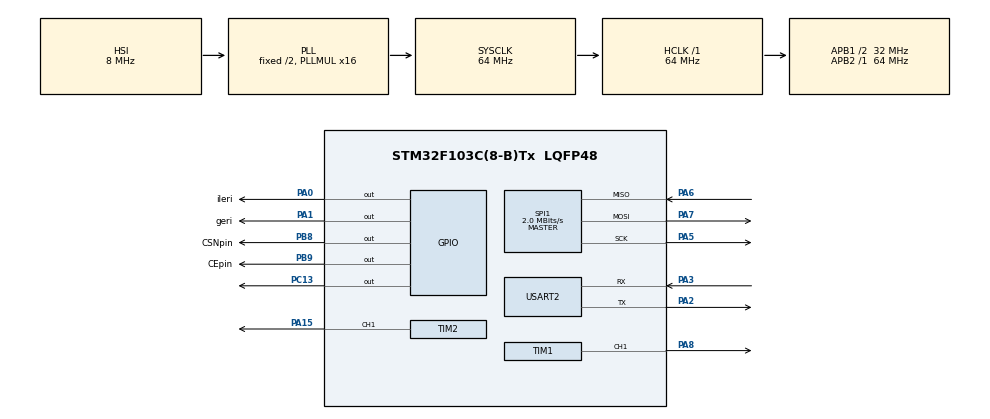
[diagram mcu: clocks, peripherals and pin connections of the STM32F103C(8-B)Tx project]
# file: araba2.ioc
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Mcu.Family=STM32F1
Mcu.Name=STM32F103C(8-B)Tx
Mcu.Package=LQFP48
NVIC.PriorityGroup=NVIC_PRIORITYGROUP_4
PA0-WKUP.GPIO_Label=ileri
PA0-WKUP.GPIO_ModeDefaultOutputPP=GPIO_MODE_OUTPUT_PP
PA0-WKUP.Signal=GPIO_Output
PA1.GPIO_Label=geri
PA1.GPIO_ModeDefaultOutputPP=GPIO_MODE_OUTPUT_PP
PA1.Signal=GPIO_Output
PA15.Signal=S_TIM2_CH1_ETR
PA2.Mode=Asynchronous
PA2.Signal=USART2_TX
PA3.Mode=Asynchronous
PA3.Signal=USART2_RX
PA5.Mode=Full_Duplex_Master
PA5.Signal=SPI1_SCK
PA6.Mode=Full_Duplex_Master
PA6.Signal=SPI1_MISO
PA7.Mode=Full_Duplex_Master
PA7.Signal=SPI1_MOSI
PA8.Signal=S_TIM1_CH1
PB8.GPIO_Label=CSNpin
PB8.Signal=GPIO_Output
PB9.GPIO_Label=CEpin
PB9.Signal=GPIO_Output
PC13-TAMPER-RTC.Signal=GPIO_Output
PD0-OSC_IN.Mode=HSE-External-Oscillator
PD0-OSC_IN.Signal=RCC_OSC_IN
PD1-OSC_OUT.Mode=HSE-External-Oscillator
PD1-OSC_OUT.Signal=RCC_OSC_OUT
ProjectManager.HeapSize=0x200
ProjectManager.StackSize=0x400
ProjectManager.TargetToolchain=MDK-ARM V5
RCC.AHBFreq_Value=64000000
RCC.APB1CLKDivider=RCC_HCLK_DIV2
RCC.APB1Freq_Value=32000000
RCC.APB1TimFreq_Value=64000000
RCC.APB2Freq_Value=64000000
RCC.APB2TimFreq_Value=64000000
RCC.HCLKFreq_Value=64000000
RCC.PLLMUL=RCC_PLL_MUL16
RCC.SYSCLKFreq_VALUE=64000000
RCC.SYSCLKSource=RCC_SYSCLKSOURCE_PLLCLK
RCC.USBFreq_Value=64000000
SH.S_TIM1_CH1.0=TIM1_CH1,PWM Generation1 CH1
SH.S_TIM2_CH1_ETR.0=TIM2_CH1,PWM Generation1 CH1
SPI1.BaudRatePrescaler=SPI_BAUDRATEPRESCALER_32
SPI1.CalculateBaudRate=2.0 MBits/s
SPI1.Direction=SPI_DIRECTION_2LINES
SPI1.Mode=SPI_MODE_MASTER
SPI1.VirtualType=VM_MASTER
TIM1.Channel-PWM\ Generation1\ CH1=TIM_CHANNEL_1
TIM1.OCPolarity_1=TIM_OCPOLARITY_LOW
TIM1.Period=99
TIM1.Prescaler=1279
TIM2.Channel-PWM\ Generation1\ CH1=TIM_CHANNEL_1
TIM2.Period=119
TIM2.Prescaler=10665
USART2.VirtualMode=VM_ASYNC
VP_SYS_VS_ND.Mode=No_Debug
board=custom

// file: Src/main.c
/* USER CODE BEGIN Header */
/**
  ******************************************************************************
  * @file           : main.c
  * @brief          : Main program body
  ******************************************************************************
  * @attention
  *
  * <h2><center>&copy; Copyright (c) 2019 STMicroelectronics.
  * All rights reserved.</center></h2>
  *
  * This software component is licensed by ST under BSD 3-Clause license,
  * the "License"; You may not use this file except in compliance with the
  * License. You may obtain a copy of the License at:
  *                        opensource.org/licenses/BSD-3-Clause
  *
  ******************************************************************************
  */
/* USER CODE END Header */

#include "main.h"

/* USER CODE BEGIN Includes */
#include "MY_NRF24.h"
#include "stm32f1xx_hal.h"
#include "string.h"
/* USER CODE END Includes */

/* USER CODE BEGIN PD */
volatile static int16_t pot,potValue,potyon,potyonValue;
char data[32] = " ",data1[32]=" ",data2[32]=" ",data3[32]=" ";

/* USER CODE END PD */

SPI_HandleTypeDef hspi1;

TIM_HandleTypeDef htim1;
TIM_HandleTypeDef htim2;

UART_HandleTypeDef huart2;

void SystemClock_Config(void);
static void MX_GPIO_Init(void);
static void MX_SPI1_Init(void);
static void MX_TIM1_Init(void);
static void MX_USART2_UART_Init(void);
static void MX_TIM2_Init(void);
/* USER CODE BEGIN PFP */
long map(long x, long in_min, long in_max, long out_min, long out_max)
{
	if( x == in_max)
		return out_max;
	else if(out_min < out_max)
		return (x - in_min) * (out_max - out_min+1) / (in_max - in_min) + out_min;
	else
		return (x - in_min) * (out_max - out_min-1) / (in_max - in_min) + out_min;
}
/* USER CODE END PFP */

/* USER CODE BEGIN 0 */
uint64_t RxpipeAddrs = 0x11223344AA ;
//void servo(uint16_t derece)
//{
//if(derece<1)
//	derece=1;
//if(derece>127)
//	derece=126;
//	derece=derece+32;
//__HAL_TIM_SET_COMPARE(&htim2,TIM_CHANNEL_1,derece);
//}
/* USER CODE END 0 */

int main(void)
{
  /* USER CODE BEGIN 1 */
char myRxData[32],myRx1Data[32];
  /* USER CODE END 1 */

  /* MCU Configuration--------------------------------------------------------*/

  /* Reset of all peripherals, Initializes the Flash interface and the Systick. */
  HAL_Init();

  /* Configure the system clock */
  SystemClock_Config();

  /* Initialize all configured peripherals */
  MX_GPIO_Init();
  MX_SPI1_Init();
  MX_TIM1_Init();
  MX_USART2_UART_Init();
  MX_TIM2_Init();
  /* USER CODE BEGIN 2 */
NRF24_begin(GPIOB,GPIO_PIN_8,GPIO_PIN_9,hspi1);
nrf24_DebugUART_Init(huart2);
printRadioSettings();
HAL_TIM_PWM_Start(&htim1,TIM_CHANNEL_1);
HAL_TIM_PWM_Start(&htim2,TIM_CHANNEL_1);

//recieve
		NRF24_setAutoAck(false);
		NRF24_setChannel(52);
		NRF24_setPayloadSize(32);
		NRF24_openReadingPipe(1,RxpipeAddrs);
		NRF24_startListening();
		uint64_t	saymac;
  /* USER CODE END 2 */

  /* Infinite loop */
  while (1)
  {

    /* USER CODE BEGIN 3 */

		saymac++;
			if(NRF24_available())
			{
			NRF24_read(myRxData,32);
			}
		pot=atoi(myRxData);
if(saymac%2==1){
	if(pot>0)
	{

			potValue=map(pot,0,4095,0,100);
			//sprintf(data,"\f %d \n\r",potValue);
			sprintf(data1,"\f ileri-geri %d \n\r",pot);
			//HAL_UART_Transmit(&huart2,(uint8_t *)data,strlen(data),10);
			//HAL_UART_Transmit(&huart2,(uint8_t *)data1,strlen(data1),10);

		 if(potValue<67)
			{
				HAL_GPIO_WritePin(GPIOA,ileri_Pin,GPIO_PIN_RESET);
				HAL_GPIO_WritePin(GPIOA,geri_Pin,GPIO_PIN_SET);
				__HAL_TIM_SET_COMPARE(&htim1,TIM_CHANNEL_1,potValue);
			}
		else if(83<potValue)
			{
				HAL_GPIO_WritePin(GPIOA,ileri_Pin,GPIO_PIN_SET);
				HAL_GPIO_WritePin(GPIOA,geri_Pin,GPIO_PIN_RESET);
				__HAL_TIM_SET_COMPARE(&htim1,TIM_CHANNEL_1,potValue);
			}
			else
			{
			HAL_GPIO_WritePin(GPIOA,ileri_Pin,GPIO_PIN_RESET);
			HAL_GPIO_WritePin(GPIOA,geri_Pin,GPIO_PIN_RESET);
			}

		}
	}
	else{
		if(pot<0)
			{

			potyon=-pot;
			potyonValue=map(potyon,430,1023,2,300);
			sprintf(data2,"\f yon %d \n\r",potyon);
			sprintf(data3,"\f yon1 %d \n\r",potyonValue );
			HAL_UART_Transmit(&huart2,(uint8_t *)data2,strlen(data2),10);
			HAL_UART_Transmit(&huart2,(uint8_t *)data3,strlen(data3),10);

			if(potyon>750)
			{
			__HAL_TIM_SET_COMPARE(&htim2,TIM_CHANNEL_1,150);

			}

			else if(potyon<675){

			__HAL_TIM_SET_COMPARE(&htim2,TIM_CHANNEL_1,2);

			}
			else{
			__HAL_TIM_SET_COMPARE(&htim2,TIM_CHANNEL_1,50);
			}

			}
		}
	HAL_Delay(30);
		}
	}

  /* USER CODE END 3 */

void SystemClock_Config(void)
{
  RCC_OscInitTypeDef RCC_OscInitStruct = {0};
  RCC_ClkInitTypeDef RCC_ClkInitStruct = {0};

  /** Initializes the CPU, AHB and APB busses clocks
  */
  RCC_OscInitStruct.OscillatorType = RCC_OSCILLATORTYPE_HSI;
  RCC_OscInitStruct.HSIState = RCC_HSI_ON;
  RCC_OscInitStruct.HSICalibrationValue = RCC_HSICALIBRATION_DEFAULT;
  RCC_OscInitStruct.PLL.PLLState = RCC_PLL_ON;
  RCC_OscInitStruct.PLL.PLLSource = RCC_PLLSOURCE_HSI_DIV2;
  RCC_OscInitStruct.PLL.PLLMUL = RCC_PLL_MUL16;
  if (HAL_RCC_OscConfig(&RCC_OscInitStruct) != HAL_OK)
  {
    Error_Handler();
  }
  /** Initializes the CPU, AHB and APB busses clocks
  */
  RCC_ClkInitStruct.ClockType = RCC_CLOCKTYPE_HCLK|RCC_CLOCKTYPE_SYSCLK
                              |RCC_CLOCKTYPE_PCLK1|RCC_CLOCKTYPE_PCLK2;
  RCC_ClkInitStruct.SYSCLKSource = RCC_SYSCLKSOURCE_PLLCLK;
  RCC_ClkInitStruct.AHBCLKDivider = RCC_SYSCLK_DIV1;
  RCC_ClkInitStruct.APB1CLKDivider = RCC_HCLK_DIV2;
  RCC_ClkInitStruct.APB2CLKDivider = RCC_HCLK_DIV1;

  if (HAL_RCC_ClockConfig(&RCC_ClkInitStruct, FLASH_LATENCY_2) != HAL_OK)
  {
    Error_Handler();
  }
}

static void MX_SPI1_Init(void)
{

  /* SPI1 parameter configuration*/
  hspi1.Instance = SPI1;
  hspi1.Init.Mode = SPI_MODE_MASTER;
  hspi1.Init.Direction = SPI_DIRECTION_2LINES;
  hspi1.Init.DataSize = SPI_DATASIZE_8BIT;
  hspi1.Init.CLKPolarity = SPI_POLARITY_LOW;
  hspi1.Init.CLKPhase = SPI_PHASE_1EDGE;
  hspi1.Init.NSS = SPI_NSS_SOFT;
  hspi1.Init.BaudRatePrescaler = SPI_BAUDRATEPRESCALER_32;
  hspi1.Init.FirstBit = SPI_FIRSTBIT_MSB;
  hspi1.Init.TIMode = SPI_TIMODE_DISABLE;
  hspi1.Init.CRCCalculation = SPI_CRCCALCULATION_DISABLE;
  hspi1.Init.CRCPolynomial = 10;
  if (HAL_SPI_Init(&hspi1) != HAL_OK)
  {
    Error_Handler();
  }

}

static void MX_TIM1_Init(void)
{

  TIM_MasterConfigTypeDef sMasterConfig = {0};
  TIM_OC_InitTypeDef sConfigOC = {0};
  TIM_BreakDeadTimeConfigTypeDef sBreakDeadTimeConfig = {0};

  htim1.Instance = TIM1;
  htim1.Init.Prescaler = 1279;
  htim1.Init.CounterMode = TIM_COUNTERMODE_UP;
  htim1.Init.Period = 99;
  htim1.Init.ClockDivision = TIM_CLOCKDIVISION_DIV1;
  htim1.Init.RepetitionCounter = 0;
  htim1.Init.AutoReloadPreload = TIM_AUTORELOAD_PRELOAD_DISABLE;
  if (HAL_TIM_PWM_Init(&htim1) != HAL_OK)
  {
    Error_Handler();
  }
  sMasterConfig.MasterOutputTrigger = TIM_TRGO_RESET;
  sMasterConfig.MasterSlaveMode = TIM_MASTERSLAVEMODE_DISABLE;
  if (HAL_TIMEx_MasterConfigSynchronization(&htim1, &sMasterConfig) != HAL_OK)
  {
    Error_Handler();
  }
  sConfigOC.OCMode = TIM_OCMODE_PWM1;
  sConfigOC.Pulse = 0;
  sConfigOC.OCPolarity = TIM_OCPOLARITY_LOW;
  sConfigOC.OCNPolarity = TIM_OCNPOLARITY_HIGH;
  sConfigOC.OCFastMode = TIM_OCFAST_DISABLE;
  sConfigOC.OCIdleState = TIM_OCIDLESTATE_RESET;
  sConfigOC.OCNIdleState = TIM_OCNIDLESTATE_RESET;
  if (HAL_TIM_PWM_ConfigChannel(&htim1, &sConfigOC, TIM_CHANNEL_1) != HAL_OK)
  {
    Error_Handler();
  }
  sBreakDeadTimeConfig.OffStateRunMode = TIM_OSSR_DISABLE;
  sBreakDeadTimeConfig.OffStateIDLEMode = TIM_OSSI_DISABLE;
  sBreakDeadTimeConfig.LockLevel = TIM_LOCKLEVEL_OFF;
  sBreakDeadTimeConfig.DeadTime = 0;
  sBreakDeadTimeConfig.BreakState = TIM_BREAK_DISABLE;
  sBreakDeadTimeConfig.BreakPolarity = TIM_BREAKPOLARITY_HIGH;
  sBreakDeadTimeConfig.AutomaticOutput = TIM_AUTOMATICOUTPUT_DISABLE;
  if (HAL_TIMEx_ConfigBreakDeadTime(&htim1, &sBreakDeadTimeConfig) != HAL_OK)
  {
    Error_Handler();
  }
  HAL_TIM_MspPostInit(&htim1);

}

static void MX_TIM2_Init(void)
{

  TIM_MasterConfigTypeDef sMasterConfig = {0};
  TIM_OC_InitTypeDef sConfigOC = {0};

  htim2.Instance = TIM2;
  htim2.Init.Prescaler = 1251;
  htim2.Init.CounterMode = TIM_COUNTERMODE_UP;
  htim2.Init.Period = 1022;
  htim2.Init.ClockDivision = TIM_CLOCKDIVISION_DIV1;
  htim2.Init.AutoReloadPreload = TIM_AUTORELOAD_PRELOAD_DISABLE;
  if (HAL_TIM_PWM_Init(&htim2) != HAL_OK)
  {
    Error_Handler();
  }
  sMasterConfig.MasterOutputTrigger = TIM_TRGO_RESET;
  sMasterConfig.MasterSlaveMode = TIM_MASTERSLAVEMODE_DISABLE;
  if (HAL_TIMEx_MasterConfigSynchronization(&htim2, &sMasterConfig) != HAL_OK)
  {
    Error_Handler();
  }
  sConfigOC.OCMode = TIM_OCMODE_PWM1;
  sConfigOC.Pulse = 0;
  sConfigOC.OCPolarity = TIM_OCPOLARITY_HIGH;
  sConfigOC.OCFastMode = TIM_OCFAST_DISABLE;
  if (HAL_TIM_PWM_ConfigChannel(&htim2, &sConfigOC, TIM_CHANNEL_1) != HAL_OK)
  {
    Error_Handler();
  }
  HAL_TIM_MspPostInit(&htim2);

}

static void MX_USART2_UART_Init(void)
{

  huart2.Instance = USART2;
  huart2.Init.BaudRate = 115200;
  huart2.Init.WordLength = UART_WORDLENGTH_8B;
  huart2.Init.StopBits = UART_STOPBITS_1;
  huart2.Init.Parity = UART_PARITY_NONE;
  huart2.Init.Mode = UART_MODE_TX_RX;
  huart2.Init.HwFlowCtl = UART_HWCONTROL_NONE;
  huart2.Init.OverSampling = UART_OVERSAMPLING_16;
  if (HAL_UART_Init(&huart2) != HAL_OK)
  {
    Error_Handler();
  }

}

static void MX_GPIO_Init(void)
{
  GPIO_InitTypeDef GPIO_InitStruct = {0};

  /* GPIO Ports Clock Enable */
  __HAL_RCC_GPIOC_CLK_ENABLE();
  __HAL_RCC_GPIOD_CLK_ENABLE();
  __HAL_RCC_GPIOA_CLK_ENABLE();
  __HAL_RCC_GPIOB_CLK_ENABLE();

  /*Configure GPIO pin Output Level */
  HAL_GPIO_WritePin(GPIOC, GPIO_PIN_13, GPIO_PIN_RESET);

  /*Configure GPIO pin Output Level */
  HAL_GPIO_WritePin(GPIOA, ileri_Pin|geri_Pin, GPIO_PIN_RESET);

  /*Configure GPIO pin Output Level */
  HAL_GPIO_WritePin(GPIOB, CSNpin_Pin|CEpin_Pin, GPIO_PIN_RESET);

  /*Configure GPIO pin : PC13 */
  GPIO_InitStruct.Pin = GPIO_PIN_13;
  GPIO_InitStruct.Mode = GPIO_MODE_OUTPUT_PP;
  GPIO_InitStruct.Pull = GPIO_NOPULL;
  GPIO_InitStruct.Speed = GPIO_SPEED_FREQ_LOW;
  HAL_GPIO_Init(GPIOC, &GPIO_InitStruct);

  /*Configure GPIO pins : ileri_Pin geri_Pin */
  GPIO_InitStruct.Pin = ileri_Pin|geri_Pin;
  GPIO_InitStruct.Mode = GPIO_MODE_OUTPUT_PP;
  GPIO_InitStruct.Pull = GPIO_NOPULL;
  GPIO_InitStruct.Speed = GPIO_SPEED_FREQ_LOW;
  HAL_GPIO_Init(GPIOA, &GPIO_InitStruct);

  /*Configure GPIO pins : CSNpin_Pin CEpin_Pin */
  GPIO_InitStruct.Pin = CSNpin_Pin|CEpin_Pin;
  GPIO_InitStruct.Mode = GPIO_MODE_OUTPUT_PP;
  GPIO_InitStruct.Pull = GPIO_NOPULL;
  GPIO_InitStruct.Speed = GPIO_SPEED_FREQ_LOW;
  HAL_GPIO_Init(GPIOB, &GPIO_InitStruct);

}

void Error_Handler(void)
{
}

/************************ (C) COPYRIGHT STMicroelectronics *****END OF FILE****/
